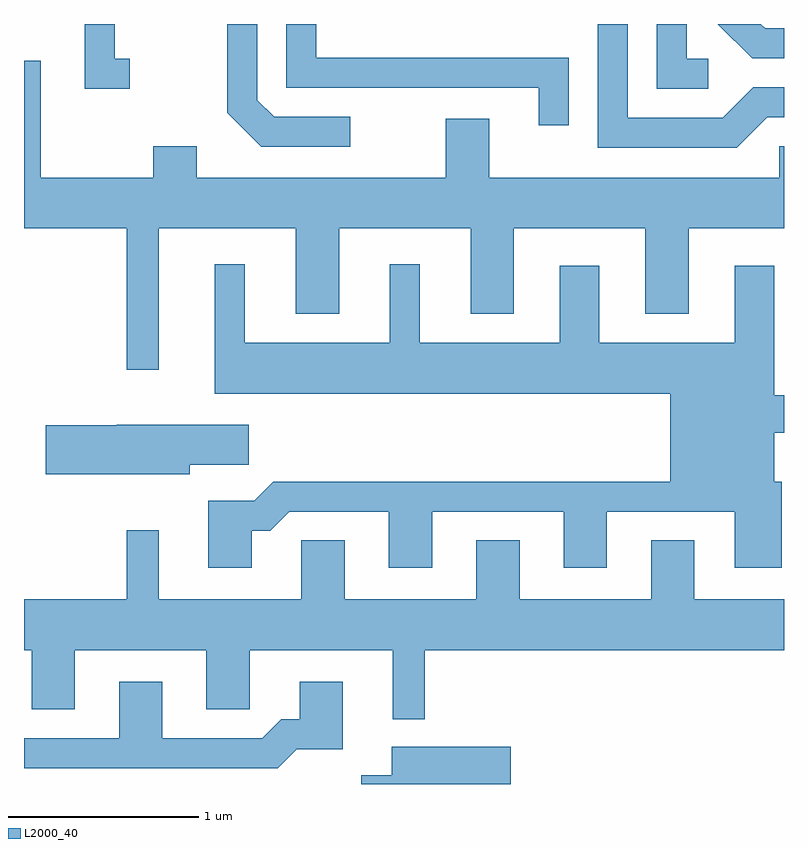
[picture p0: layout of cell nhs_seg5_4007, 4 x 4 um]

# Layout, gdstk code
import gdstk
lib = gdstk.Library(unit=1e-6, precision=1e-09)
def P(c, l, *ps):  # polygons
    for p in ps: c.add(gdstk.Polygon(p, *l))
L2000_40 = (2000, 40)

nhs_seg5_4007 = lib.new_cell('nhs_seg5_4007')
P(nhs_seg5_4007, L2000_40, [(307.522,1479.581),(307.611,1479.581),(307.611,1479.739),(307.449,1479.739),(307.289,1479.579),(306.789,1479.579),(306.789,1480.072),(306.631,1480.072),(306.631,1479.421),(307.362,1479.421)],
  [(305.328,1479.584),(304.927,1479.584),(304.839,1479.672),(304.839,1480.072),(304.241,1480.072),(304.241,1480.071),(304.681,1480.071),(304.681,1479.604),(304.859,1479.426),(305.328,1479.426)],
  [(307.611,1480.049),(307.512,1480.049),(307.489,1480.072),(307.263,1480.072),(307.444,1479.891),(307.611,1479.891)],
  [(306.479,1479.894),(305.149,1479.894),(305.149,1480.072),(304.991,1480.072),(304.991,1479.736),(306.321,1479.736),(306.321,1479.538),(306.479,1479.538)],
  [(304.168,1479.889),(304.089,1479.889),(304.089,1480.072),(303.931,1480.072),(303.931,1479.731),(304.168,1479.731)],
  [(307.213,1479.889),(307.099,1479.889),(307.099,1480.072),(306.941,1480.072),(306.941,1479.731),(307.213,1479.731)],
  [(304.319,1478.996),(305.041,1478.996),(305.041,1478.546),(305.269,1478.546),(305.269,1478.996),(305.961,1478.996),(305.961,1478.546),(306.189,1478.546),(306.189,1478.996),(306.881,1478.996),(306.881,1478.546),(307.109,1478.546),(307.109,1478.996),(307.611,1478.996),(307.611,1479.429),(307.586,1479.429),(307.586,1479.264),(306.059,1479.264),(306.059,1479.574),(305.831,1479.574),(305.831,1479.264),(304.519,1479.264),(304.519,1479.429),(304.291,1479.429),(304.291,1479.264),(303.699,1479.264),(303.699,1479.879),(303.611,1479.879),(303.611,1478.996),(304.151,1478.996),(304.151,1478.253),(304.319,1478.253)],
  [(304.809,1477.406),(304.907,1477.406),(305.007,1477.506),(305.531,1477.506),(305.531,1477.211),(305.759,1477.211),(305.759,1477.506),(306.451,1477.506),(306.451,1477.211),(306.679,1477.211),(306.679,1477.506),(307.351,1477.506),(307.351,1477.211),(307.599,1477.211),(307.599,1477.664),(307.559,1477.664),(307.559,1477.921),(307.611,1477.921),(307.611,1478.119),(307.559,1478.119),(307.559,1478.799),(307.351,1478.799),(307.351,1478.394),(306.639,1478.394),(306.639,1478.799),(306.431,1478.799),(306.431,1478.394),(305.694,1478.394),(305.694,1478.808),(305.536,1478.808),(305.536,1478.394),(304.774,1478.394),(304.774,1478.808),(304.616,1478.808),(304.616,1478.126),(307.011,1478.126),(307.011,1477.664),(304.924,1477.664),(304.824,1477.564),(304.581,1477.564),(304.581,1477.211),(304.809,1477.211)],
  [(304.484,1477.751),(304.794,1477.751),(304.794,1477.964),(304.1,1477.964),(304.1,1477.959),(303.726,1477.959),(303.726,1477.701),(304.484,1477.701)],
  [(305.299,1477.354),(305.071,1477.354),(305.071,1477.044),(304.319,1477.044),(304.319,1477.408),(304.151,1477.408),(304.151,1477.044),(303.611,1477.044),(303.611,1476.776),(303.651,1476.776),(303.651,1476.466),(303.879,1476.466),(303.879,1476.776),(304.571,1476.776),(304.571,1476.466),(304.799,1476.466),(304.799,1476.776),(305.551,1476.776),(305.551,1476.413),(305.719,1476.413),(305.719,1476.776),(307.611,1476.776),(307.611,1477.044),(307.139,1477.044),(307.139,1477.354),(306.911,1477.354),(306.911,1477.044),(306.219,1477.044),(306.219,1477.354),(305.991,1477.354),(305.991,1477.044),(305.299,1477.044)],
  [(305.047,1476.256),(305.289,1476.256),(305.289,1476.609),(305.061,1476.609),(305.061,1476.414),(304.964,1476.414),(304.864,1476.314),(304.339,1476.314),(304.339,1476.609),(304.111,1476.609),(304.111,1476.314),(303.611,1476.314),(303.611,1476.156),(304.947,1476.156)],
  [(306.174,1476.269),(305.546,1476.269),(305.546,1476.119),(305.386,1476.119),(305.386,1476.072),(306.174,1476.072)])

lib.write_gds('nhs_seg5_4007.gds')
